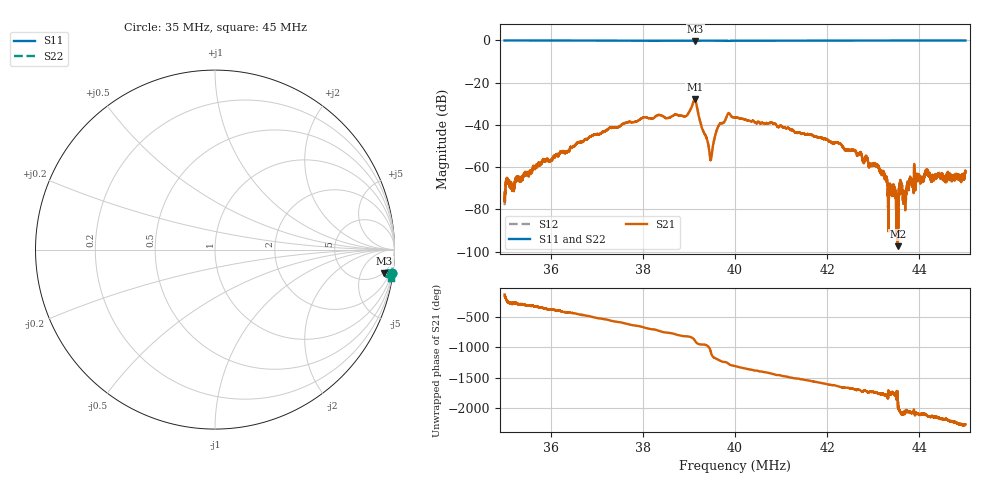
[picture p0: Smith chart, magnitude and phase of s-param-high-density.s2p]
!  24/08/2022  11:30:25 AM
! Ref Plane: 0.000 mm
# MHZ S MA R  50
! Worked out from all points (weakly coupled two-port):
!   8001 points, 35 MHz to 45 MHz, reference 50 ohm
!   highest |S21| = -27.84 dB at 39.13 MHz (marker M1); lowest = -97.5 dB at 43.53 MHz (marker M2)
!   lowest |S11| = -0.4 dB at 39.14 MHz (marker M3), VSWR 40.46, Z = 231 - j642 ohm
!   |S11| at or under -10 dB: nowhere
!   |S22| runs from -0.4 to 0.0 dB; largest |S21 - S12| = 0.00035
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35  0.995 -7.5  0.0001606 -127.4  0.0001346 -133.4  0.9948 -7.5
35.0725  0.9959 -7.5  0.0004512 114.0  0.0004757 104.8  0.996 -7.5
35.1813  0.9961 -7.6  0.000297 98.6  0.0003373 102.5  0.9962 -7.5
36.6675  0.9916 -8.1  0.003956 -104.1  0.003941 -104.8  0.9913 -8.0
38.3338  0.9765 -8.1  0.01721 -3.7  0.01713 -3.7  0.9766 -8.1
38.9238  0.983 -8.2  0.01592 -98.0  0.01595 -97.5  0.983 -8.2
39.1275  0.953 -8.3  0.04056 -165.7  0.04049 -165.8  0.9541 -8.3
39.1363  0.9518 -7.9  0.03961 -176.3  0.03967 -176.3  0.9531 -7.8
39.47  0.9915 -8.0  0.001463 20.1  0.001498 20.0  0.9897 -8.0
39.655  0.9823 -8.5  0.0101 -134.2  0.01007 -134.3  0.9829 -8.4
39.8588  0.9737 -8.2  0.01893 169.0  0.01901 169.1  0.9744 -8.2
40  0.9801 -8.0  0.01522 130.7  0.01513 130.6  0.9797 -8.0
41.6675  0.9852 -8.0  0.005709 -119.2  0.00582 -119.5  0.986 -8.0
43.0663  0.9913 -8.3  0.001096 56.8  0.001116 48.4  0.9915 -8.3
43.2513  0.9918 -8.4  0.000553 4.3  0.0005559 9.9  0.9922 -8.4
43.3338  0.9916 -8.4  0.0001435 56.7  0.0001505 80.6  0.9921 -8.4
43.53  0.9926 -8.5  1.341e-05 12.3  3.423e-05 25.6  0.9924 -8.5
43.5975  0.9929 -8.5  0.0004472 88.2  0.0004185 84.9  0.9925 -8.5
43.6763  0.993 -8.5  0.000212 56.3  0.0002283 78.2  0.9927 -8.5
43.78  0.9935 -8.6  0.0003938 103.8  0.0004685 98.5  0.9936 -8.5
44.1538  0.9931 -8.7  0.000863 42.0  0.0007958 39.6  0.9935 -8.6
45  0.9922 -9.1  0.0008173 -112.3  0.0009131 -117.5  0.9915 -9.0
